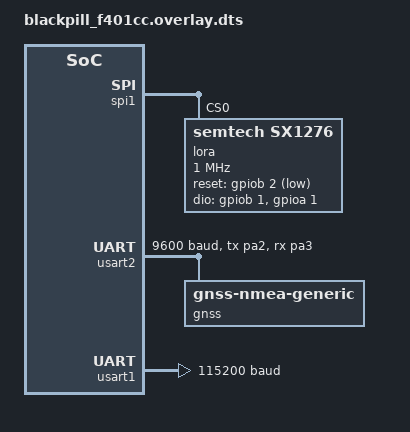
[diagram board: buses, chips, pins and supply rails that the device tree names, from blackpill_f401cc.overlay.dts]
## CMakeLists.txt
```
# SPDX-License-Identifier: Apache-2.0

cmake_minimum_required(VERSION 3.20.0)
set(CMAKE_C_FLAGS "${CMAKE_C_FLAGS} -O0 -ggdb")
find_package(Zephyr REQUIRED HINTS $ENV{ZEPHYR_BASE})
project(lora_tracker)

target_sources(app PRIVATE 
               src/main.c
               src/aprs/aprs.c
               src/aprs/format.c
               src/aprs/packet.c 
               src/aprs/thread.c 
               src/aprs/smart_beacon.c
               src/aprs/beacon_logic.c
               src/gnss.c
               src/lora/dev.c
               src/lora/fifo.c
               src/lora/thread.c)
target_include_directories(app PRIVATE include include/aprs include/gnss include/lora)
```

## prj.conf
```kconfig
CONFIG_GPIO=y
CONFIG_SPI=y
CONFIG_FPU=y
CONFIG_SERIAL=y
CONFIG_DEBUG_COREDUMP=y
# CONFIG_DEBUG_COREDUMP_BACKEND_LOGGING=y
CONFIG_LOG_BUFFER_SIZE=8192
CONFIG_HEAP_MEM_POOL_SIZE=1024

CONFIG_SHELL=y
CONFIG_LOG=y
CONFIG_LOG_CMDS=y
CONFIG_LOG_DEFAULT_LEVEL=3
# CONFIG_SYMTAB=y

CONFIG_LORA=y
CONFIG_LORA_SX127X=y
CONFIG_LORA_SHELL=y

CONFIG_GNSS=y
CONFIG_GNSS_SATELLITES=y
# CONFIG_GNSS_DUMP_TO_LOG=y
# CONFIG_GNSS_DUMP_TO_LOG_BUF_SIZE=1024
# CONFIG_GNSS_LOG_LEVEL_DBG=y
# CONFIG_MODEM_MODULES_LOG_LEVEL_DBG=y
```

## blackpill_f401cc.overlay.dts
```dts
/ {
    aliases {
        lora0 = &lora;
        gnss = &gnss;
        modem = &gnss;
    };
};

&i2c1 {
    status = "disabled";
};

&spi1 {
    status = "okay";
    lora: lora@0 {
        compatible = "semtech,sx1276";
        reg = <0>;
        //reset-gpios = <&gpioa 3 GPIO_ACTIVE_LOW>;
        reset-gpios = <&gpiob 2 GPIO_ACTIVE_LOW>;
        dio-gpios =
            /* SX1276 D0 */
            //<&gpioa 2 (GPIO_PULL_DOWN | GPIO_ACTIVE_HIGH)>,
            <&gpiob 1 (GPIO_PULL_DOWN | GPIO_ACTIVE_HIGH)>,
            /* SX1276 D1 */
            <&gpioa 1 (GPIO_PULL_DOWN | GPIO_ACTIVE_HIGH)>;
        spi-max-frequency = <1000000>;
        power-amplifier-output = "pa-boost";
    };
};

&usart2 {
    pinctrl-0 = <&usart2_tx_pa2 &usart2_rx_pa3>;
    pinctrl-names = "default";
    status = "okay";
    current-speed = <9600>;

    gnss: gnss-nmea-generic {
        compatible = "gnss-nmea-generic";
        status = "okay";
    };
};

&usart1 {
    current-speed = <115200>;
};

&usbotg_fs {
    status = "disabled";
};

&vref {
    status = "disabled";
};

&vbat {
    status = "disabled";
};

&adc1 {
    status = "disabled";
};
```

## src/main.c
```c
/*
 * SPDX-License-Identifier: Apache-2.0
 */

#include <aprs/thread.h>
#include <gnss/gnss.h>
#include <lora/dev.h>
#include <lora/thread.h>
#include <zephyr/drivers/gpio.h>
#include <zephyr/kernel.h>

#define LOG_LEVEL CONFIG_LOG_DEFAULT_LEVEL
#include <zephyr/logging/log.h>
LOG_MODULE_REGISTER(lora_tracker);

/* The devicetree node identifier for the "led0" alias. */
#define LED0_NODE DT_ALIAS(led0)
/*
 * A build error on this line means your board is unsupported.
 * See the sample documentation for information on how to fix this.
 */
static const struct gpio_dt_spec led = GPIO_DT_SPEC_GET(LED0_NODE, gpios);

int main(void) {
    int ret;

    if (!device_is_ready(led.port)) {
        return 0;
    }

    ret = gpio_pin_configure_dt(&led, GPIO_OUTPUT_ACTIVE);
    if (ret < 0) {
        return 0;
    }

    if (lora_dev_init() < 0) {
        return 0;
    }

    spawn_lora_thread();
    spawn_aprs_thread();

    gpio_pin_set_dt(&led, 0);

    return 0;
}
```

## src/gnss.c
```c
#include <gnss/gnss.h>
#include <lora/fifo.h>
#include <zephyr/drivers/gnss.h>
#include <zephyr/kernel.h>
#include <zephyr/sys/atomic.h>

#include <math.h>
#include <stdio.h>
#include <stdlib.h>
#include <string.h>

static struct GNSS_Data gnss_data;
ATOMIC_DEFINE(fix_flag_bits, 1);

K_SEM_DEFINE(gnss_sem, 1, 1);

#define GNSS_MODEM DEVICE_DT_GET(DT_ALIAS(gnss))

int get_gnss_data(struct GNSS_Data *out) {
    int ret = -1;
    k_sem_take(&gnss_sem, K_FOREVER);

    if (atomic_test_bit(fix_flag_bits, 0)) {
        ret = 0;

        memcpy(out, &gnss_data, sizeof(struct GNSS_Data));
    }

    k_sem_give(&gnss_sem);

    return ret;
}

static void gnss_data_cb(const struct device *dev, const struct gnss_data *data) {
    if (data->info.fix_status != GNSS_FIX_STATUS_NO_FIX) {
        // Those updates are frequent enough that we can drop some
        if (k_sem_take(&gnss_sem, K_NO_WAIT) < 0) {
            return;
        }

        gnss_data.latitude = (double)(data->nav_data.latitude) * 1e-9;   // from nanodegrees to degrees
        gnss_data.longitude = (double)(data->nav_data.longitude) * 1e-9; // from nanodegrees to degrees
        gnss_data.bearing = (int)round((double)(data->nav_data.bearing) * 1e-3);
        gnss_data.speed = (int)round((double)(data->nav_data.speed) * 36e-4); // from mm/s to km/h

        // TOFIX: Make this a debug log instead
        printf("Newest fix: LAT %f   LONG %f   BEAR %d   SPD %d\n", gnss_data.latitude, gnss_data.longitude,
               gnss_data.bearing, gnss_data.speed);

        atomic_set_bit(fix_flag_bits, 0);
        k_sem_give(&gnss_sem);
    }
}
GNSS_DATA_CALLBACK_DEFINE(GNSS_MODEM, gnss_data_cb);

#if CONFIG_GNSS_SATELLITES
static void gnss_satellites_cb(const struct device *dev, const struct gnss_satellite *satellites, uint16_t size) {
    unsigned int tracked_count = 0;

    for (unsigned int i = 0; i != size; ++i) {
        tracked_count += satellites[i].is_tracked;
    }
    /* printf("%u satellite%s reported (of which %u tracked)!\n", */
    /* 	size, size > 1 ? "s" : "", tracked_count); */
}
#endif
GNSS_SATELLITES_CALLBACK_DEFINE(GNSS_MODEM, gnss_satellites_cb);
```
